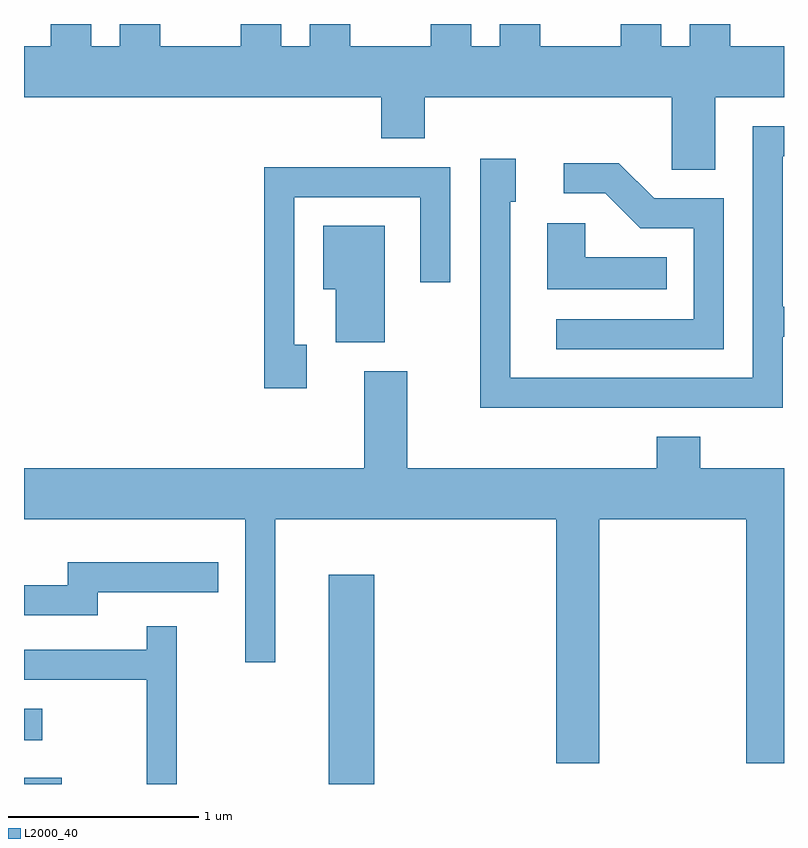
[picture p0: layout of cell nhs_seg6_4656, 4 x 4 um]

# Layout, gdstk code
import gdstk
lib = gdstk.Library(unit=1e-6, precision=1e-09)
def R(c, l, rs):  # rectangles x0, y0, x1, y1
    for r in rs: c.add(gdstk.rectangle(r[:2], r[2:], *l))
def P(c, l, *ps):  # polygons
    for p in ps: c.add(gdstk.Polygon(p, *l))
L2000_40 = (2000, 40)

nhs_seg6_4656 = lib.new_cell('nhs_seg6_4656')
R(nhs_seg6_4656, L2000_40, [(327.611,1584.162,327.809,1584.194), (329.216,1584.162,329.454,1585.264), (327.611,1584.391,327.708,1584.559)])
P(nhs_seg6_4656, L2000_40, [(331.249,1587.776),(331.611,1587.776),(331.611,1588.044),(331.329,1588.044),(331.329,1588.162),(331.116,1588.162),(331.116,1588.044),(330.964,1588.044),(330.964,1588.162),(330.751,1588.162),(330.751,1588.044),(330.329,1588.044),(330.329,1588.162),(330.116,1588.162),(330.116,1588.044),(329.964,1588.044),(329.964,1588.162),(329.751,1588.162),(329.751,1588.044),(329.329,1588.044),(329.329,1588.162),(329.116,1588.162),(329.116,1588.044),(328.964,1588.044),(328.964,1588.162),(328.751,1588.162),(328.751,1588.044),(328.329,1588.044),(328.329,1588.162),(328.116,1588.162),(328.116,1588.044),(327.964,1588.044),(327.964,1588.162),(327.751,1588.162),(327.751,1588.044),(327.611,1588.044),(327.611,1587.776),(329.491,1587.776),(329.491,1587.561),(329.719,1587.561),(329.719,1587.776),(331.021,1587.776),(331.021,1587.396),(331.249,1587.396)],
  [(331.604,1586.516),(331.611,1586.516),(331.611,1586.674),(331.604,1586.674),(331.604,1587.466),(331.611,1587.466),(331.611,1587.624),(331.446,1587.624),(331.446,1586.299),(330.169,1586.299),(330.169,1587.226),(330.199,1587.226),(330.199,1587.454),(330.011,1587.454),(330.011,1586.141),(331.604,1586.141)],
  [(331.294,1587.244),(330.927,1587.244),(330.742,1587.429),(330.453,1587.429),(330.453,1587.271),(330.669,1587.271),(330.854,1587.086),(331.136,1587.086),(331.136,1586.609),(330.413,1586.609),(330.413,1586.451),(331.294,1586.451)],
  [(329.099,1586.474),(329.034,1586.474),(329.034,1587.251),(329.696,1587.251),(329.696,1586.803),(329.854,1586.803),(329.854,1587.409),(328.876,1587.409),(328.876,1586.246),(329.099,1586.246)],
  [(330.993,1586.934),(330.564,1586.934),(330.564,1587.114),(330.366,1587.114),(330.366,1586.766),(330.993,1586.766)],
  [(329.509,1587.099),(329.186,1587.099),(329.186,1586.766),(329.251,1586.766),(329.251,1586.486),(329.509,1586.486)],
  [(330.639,1585.556),(331.411,1585.556),(331.411,1584.271),(331.611,1584.271),(331.611,1585.824),(331.169,1585.824),(331.169,1585.989),(330.941,1585.989),(330.941,1585.824),(329.629,1585.824),(329.629,1586.334),(329.401,1586.334),(329.401,1585.824),(327.611,1585.824),(327.611,1585.556),(328.776,1585.556),(328.776,1584.803),(328.934,1584.803),(328.934,1585.556),(330.411,1585.556),(330.411,1584.271),(330.639,1584.271)],
  [(327.999,1585.171),(328.633,1585.171),(328.633,1585.329),(327.841,1585.329),(327.841,1585.209),(327.611,1585.209),(327.611,1585.051),(327.999,1585.051)],
  [(328.414,1584.993),(328.256,1584.993),(328.256,1584.869),(327.611,1584.869),(327.611,1584.711),(328.256,1584.711),(328.256,1584.162),(328.414,1584.162)])

lib.write_gds('nhs_seg6_4656.gds')
